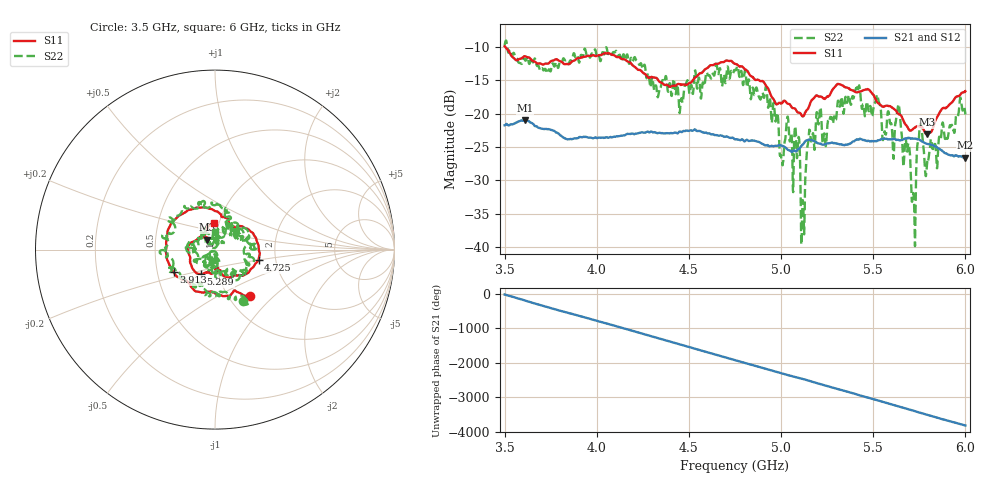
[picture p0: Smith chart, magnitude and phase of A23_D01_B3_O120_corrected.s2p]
! Created with skrf 1.9.0 (http://scikit-rf.org).
# Hz S RI R 50.0
!freq ReS11 ImS11 ReS21 ImS21 ReS12 ImS12 ReS22 ImS22
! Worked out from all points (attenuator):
!   1601 points, 3.5 GHz to 6 GHz, reference 50 ohm
!   highest |S21| = -21.00 dB at 3.611 GHz (marker M1); lowest = -26.6 dB at 6 GHz (marker M2)
!   lowest |S11| = -23.1 dB at 5.791 GHz (marker M3), VSWR 1.15, Z = 45.6 + j5.06 ohm
!   |S11| at or under -10 dB: 3.504 GHz to end of sweep
!   |S22| runs from -39.9 to -9.0 dB; largest |S21 - S12| = 0.0013
!   S11 on the Smith chart (normalised r, x): 3.5 GHz: 1.26, -0.72; 3.913 GHz: 0.61, -0.16; 4.725 GHz: 1.63, -0.20; 5.289 GHz: 0.83, -0.23; 6 GHz: 0.94, +0.28
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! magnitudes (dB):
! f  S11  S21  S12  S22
! 3.5 GHz  -9.9  -21.8  -21.8  -9.7
! 3.611 GHz  -11.4  -21.0  -21.0  -12.0
! 3.913 GHz  -11.6  -23.5  -23.5  -11.3
! 3.917 GHz  -11.6  -23.6  -23.6  -11.2
! 4.334 GHz  -15.0  -22.9  -22.8  -17.2
! 4.725 GHz  -12.1  -23.6  -23.6  -14.2
! 4.75 GHz  -12.5  -23.9  -23.8  -13.5
! 4.927 GHz  -16.1  -24.7  -24.7  -18.2
! 5.003 GHz  -18.4  -24.8  -24.8  -27.0
! 5.086 GHz  -19.7  -25.6  -25.6  -26.7
! 5.117 GHz  -20.4  -24.7  -24.6  -33.0
! 5.145 GHz  -19.3  -24.0  -23.9  -24.5
! 5.167 GHz  -17.9  -24.0  -24.0  -23.8
! 5.289 GHz  -16.1  -24.4  -24.4  -20.4
! 5.416 GHz  -16.8  -23.9  -23.9  -16.7
! 5.584 GHz  -18.9  -23.8  -23.9  -19.8
! 5.641 GHz  -20.1  -24.0  -24.0  -18.9
! 5.689 GHz  -22.2  -23.6  -23.6  -24.6
! 5.717 GHz  -22.3  -23.7  -23.7  -31.9
! 5.752 GHz  -21.9  -23.9  -23.9  -22.0
! 5.791 GHz  -23.1  -24.5  -24.5  -27.9
! 6 GHz  -16.6  -26.6  -26.6  -20.1
